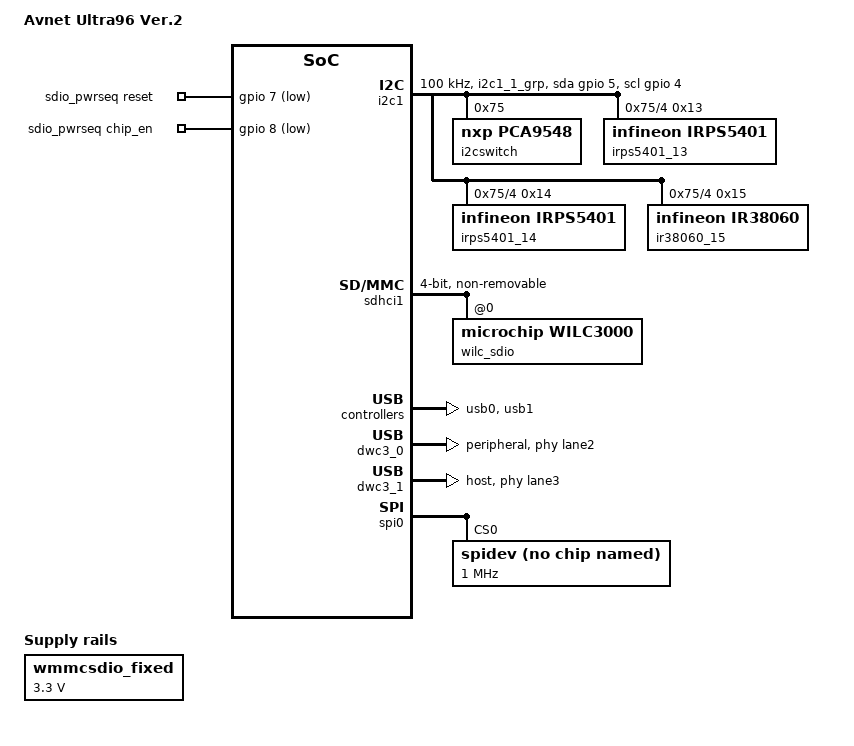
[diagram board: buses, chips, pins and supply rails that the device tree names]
/include/ "system-conf.dtsi"
/ {
	model = "Avnet Ultra96 Ver.2";

	wmmcsdio_fixed: fixedregulator-mmcsdio {
		compatible = "regulator-fixed";
		regulator-name = "wmmcsdio_fixed";
		regulator-min-microvolt = <3300000>;
		regulator-max-microvolt = <3300000>;
		regulator-always-on;
		regulator-boot-on;
	};

	sdio_pwrseq: sdio_pwrseq {
		compatible = "mmc-pwrseq-simple";
		reset-gpios = <&gpio 7 1>; // MIO[7] for WILC3000 RESETN, Active low
		chip_en-gpios = <&gpio 8 1>; 
	};

	aliases {
		i2c0 = &i2c1;
	};
};

&i2c1 {
	status = "okay";
	clock-frequency = <100000>;
	pinctrl-names = "default", "gpio";
	pinctrl-0 = <&pinctrl_i2c1_default>;
	pinctrl-1 = <&pinctrl_i2c1_gpio>;
	scl-gpios = <&gpio 4 0>;
	sda-gpios = <&gpio 5 0>;

	i2cswitch@75 { /* U7 on Ultra96-V2 */
		compatible = "nxp,pca9548";
		#address-cells = <1>;
		#size-cells = <0>;
		reg = <0x75>;
		i2c@0 { /* LS MEZZ I2C0 */
			#address-cells = <1>;
			#size-cells = <0>;
			reg = <0>;         
		};
		i2c@1 { /* LS MEZZ I2C1 */
			#address-cells = <1>;
			#size-cells = <0>;
			reg = <1>; 
		};
		i2c@2 { /* HS MEZZ I2C2 */
			#address-cells = <1>;
			#size-cells = <0>;
			reg = <2>;
		};
		i2c@3 { /* HS MEZZ I2C3 */
			#address-cells = <1>;
			#size-cells = <0>;
			reg = <3>;
		};
		i2c@4 { /* i2c mw 75 0 10 */
			#address-cells = <1>;
			#size-cells = <0>;
			reg = <4>;
			/* PMBus PMIC */
			irps5401_13: irps5401@13 { /* U11 on Ultra96-V2 */
				compatible = "infineon,irps5401";
				reg = <0x13>;
			};

			/* PMBus PMIC */
			irps5401_14: irps5401@14 { /* U12 on Ultra96-V2 */
				compatible = "infineon,irps5401";
				reg = <0x14>;
			};

			/* PMBus PMIC */
			ir38060_15: ir38060@15 { /* U21 on Ultra96-V2 */
				compatible = "infineon,ir38060";
				reg = <0x15>;
			};
		};
	};
};

&pinctrl0 {
	status = "okay";
	pinctrl_i2c1_default: i2c1-default {
		mux {
			groups = "i2c1_1_grp";
			function = "i2c1";
		};

		conf {
			groups = "i2c1_1_grp";
			bias-pull-up;
			slew-rate = <1>;
			io-standard = <1>;
		};
	};

	pinctrl_i2c1_gpio: i2c1-gpio {
		mux {
			groups = "gpio0_4_grp", "gpio0_5_grp";
			function = "gpio0";
		};

		conf {
			groups = "gpio0_4_grp", "gpio0_5_grp";
			slew-rate = <1>;
			io-standard = <1>;
		};
	};
};

/* SD0 only supports 3.3V, no level shifter */
&sdhci0 {
	no-1-8-v;
	disable-wp;
};

&sdhci1 {
	bus-width= <0x4>;
	non-removable;
	disable-wp;
	cap-power-off-card;
	mmc-pwrseq = <&sdio_pwrseq>;
	vqmmc-supply = <&wmmcsdio_fixed>;
	max-frequency = <50000000>;
	status = "okay";
	#address-cells = <1>;
	#size-cells = <0>;
	wilc_sdio@1 {
		compatible = "microchip,wilc3000", "microchip,wilc3000";
		reg = <0>;
		bus-width= <0x4>;
		status = "okay";
	};
};

&usb0 {
    status = "okay";
};

&dwc3_0 {
    status = "okay";
    dr_mode = "peripheral";
    phy-names = "usb3-phy";
    phys = <&lane2 4 0 0 26000000>;
    maximum-speed = "super-speed";   
};

&usb1 {
    status = "okay";
};

&dwc3_1 {
    status = "okay";
    dr_mode = "host";
    phy-names = "usb3-phy";
    phys = <&lane3 4 1 0 26000000>;
    maximum-speed = "super-speed";
};

&spi0 {
    is-decoded-cs = <0>;
    num-cs = <1>;
    status = "okay";
    spidev@0x00 {
        compatible = "rohm,dh2228fv";
        spi-max-frequency = <1000000>;
        reg = <0>;
    };
};

